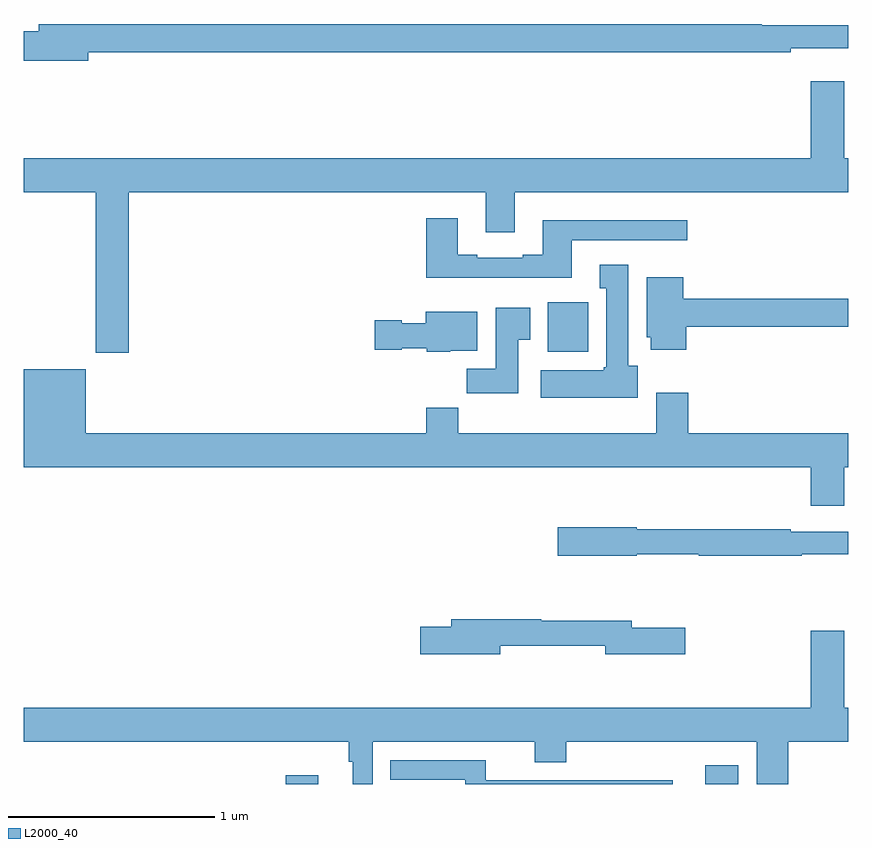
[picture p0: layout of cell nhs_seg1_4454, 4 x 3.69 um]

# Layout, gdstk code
import gdstk
lib = gdstk.Library(unit=1e-6, precision=1e-09)
def R(c, l, rs):  # rectangles x0, y0, x1, y1
    for r in rs: c.add(gdstk.rectangle(r[:2], r[2:], *l))
def P(c, l, *ps):  # polygons
    for p in ps: c.add(gdstk.Polygon(p, *l))
L2000_40 = (2000, 40)

nhs_seg1_4454 = lib.new_cell('nhs_seg1_4454')
R(nhs_seg1_4454, L2000_40, [(354.272,546.199,354.43,546.241), (356.305,546.199,356.466,546.289), (355.541,548.294,355.738,548.536)])
P(nhs_seg1_4454, L2000_40, [(353.314,549.748),(356.72,549.748),(356.72,549.767),(357,549.767),(357,549.877),(356.579,549.877),(356.579,549.884),(353.075,549.884),(353.075,549.848),(353,549.848),(353,549.706),(353.314,549.706)],
  [(353.51,549.068),(355.241,549.068),(355.241,548.874),(355.381,548.874),(355.381,549.068),(357,549.068),(357,549.232),(356.98,549.232),(356.98,549.607),(356.816,549.607),(356.816,549.232),(353,549.232),(353,549.068),(353.35,549.068),(353.35,548.289),(353.51,548.289)],
  [(355.657,548.835),(356.218,548.835),(356.218,548.932),(355.517,548.932),(355.517,548.764),(355.421,548.764),(355.421,548.751),(355.201,548.751),(355.201,548.764),(355.105,548.764),(355.105,548.941),(354.953,548.941),(354.953,548.654),(355.657,548.654)],
  [(355.978,548.226),(355.933,548.226),(355.933,548.716),(355.793,548.716),(355.793,548.603),(355.826,548.603),(355.826,548.22),(355.813,548.22),(355.813,548.206),(355.509,548.206),(355.509,548.072),(355.978,548.072)],
  [(356.213,548.416),(357,548.416),(357,548.552),(356.2,548.552),(356.2,548.656),(356.021,548.656),(356.021,548.364),(356.042,548.364),(356.042,548.304),(356.213,548.304)],
  [(355.399,548.353),(355.456,548.353),(355.456,548.509),(355.289,548.509),(355.289,548.212),(355.15,548.212),(355.15,548.094),(355.399,548.094)],
  [(355.068,548.3),(355.201,548.3),(355.201,548.488),(354.95,548.488),(354.95,548.434),(354.834,548.434),(354.834,548.447),(354.702,548.447),(354.702,548.305),(354.834,548.305),(354.834,548.312),(354.954,548.312),(354.954,548.294),(355.068,548.294)],
  [(356.98,547.736),(357,547.736),(357,547.9),(356.222,547.9),(356.222,548.095),(356.069,548.095),(356.069,547.9),(355.109,547.9),(355.109,548.024),(354.953,548.024),(354.953,547.9),(353.302,547.9),(353.302,548.209),(353,548.209),(353,547.736),(356.816,547.736),(356.816,547.548),(356.98,547.548)],
  [(355.974,547.314),(356.274,547.314),(356.274,547.306),(356.774,547.306),(356.774,547.314),(357,547.314),(357,547.422),(356.72,547.422),(356.72,547.435),(355.974,547.435),(355.974,547.443),(355.59,547.443),(355.59,547.306),(355.974,547.306)],
  [(355.312,546.87),(355.82,546.87),(355.82,546.827),(356.209,546.827),(356.209,546.957),(355.948,546.957),(355.948,546.991),(355.511,546.991),(355.511,546.998),(355.073,546.998),(355.073,546.962),(354.924,546.962),(354.924,546.827),(355.312,546.827)],
  [(354.693,546.404),(355.478,546.404),(355.478,546.305),(355.631,546.305),(355.631,546.404),(356.555,546.404),(356.555,546.199),(356.708,546.199),(356.708,546.404),(357,546.404),(357,546.568),(356.98,546.568),(356.98,546.943),(356.816,546.943),(356.816,546.568),(353,546.568),(353,546.404),(354.577,546.404),(354.577,546.308),(354.596,546.308),(354.596,546.199),(354.693,546.199)],
  [(356.148,546.218),(355.714,546.218),(355.714,546.216),(355.242,546.216),(355.242,546.315),(354.778,546.315),(354.778,546.219),(355.142,546.219),(355.142,546.199),(356.148,546.199)])

lib.write_gds('nhs_seg1_4454.gds')
